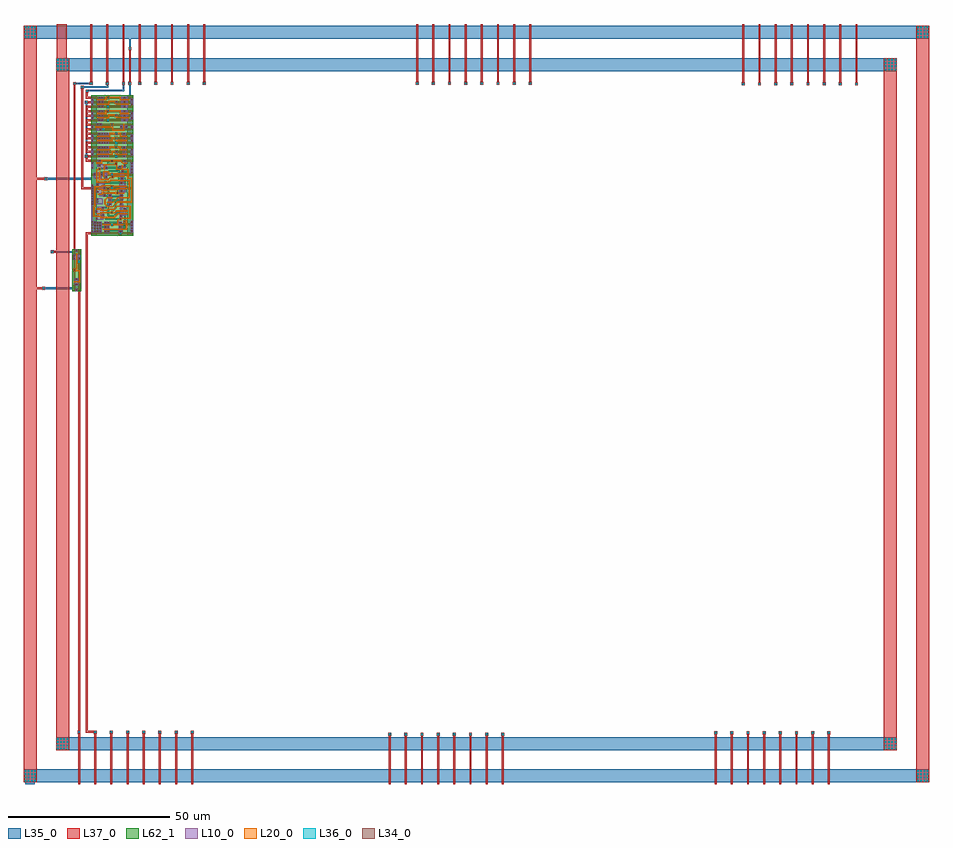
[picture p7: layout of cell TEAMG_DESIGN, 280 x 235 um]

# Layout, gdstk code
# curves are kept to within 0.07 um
from math import pi, radians
import gdstk
lib = gdstk.Library(unit=1e-6, precision=1e-09)
def R(c, l, rs):  # rectangles x0, y0, x1, y1
    for r in rs: c.add(gdstk.rectangle(r[:2], r[2:], *l))
def A(c, l, x, y, w, h, nx, ny, dx, dy):  # array of equal rectangles
    R(c, l, [(x+i*dx, y+j*dy, x+i*dx+w, y+j*dy+h) for i in range(nx) for j in range(ny)])
def P(c, l, *ps):  # polygons
    for p in ps: c.add(gdstk.Polygon(p, *l))
L10_0 = (10, 0)
L20_0 = (20, 0)
L34_0 = (34, 0)
L35_0 = (35, 0)
L36_0 = (36, 0)
L37_0 = (37, 0)
L62_1 = (62, 1)

via1 = lib.new_cell('VIA1')
R(via1, L35_0, [(-0.45,-0.45,0.45,0.45)])
R(via1, L36_0, [(-0.25,-0.25,0.25,0.25)])
R(via1, L37_0, [(-0.4,-0.4,0.4,0.4)])

inv1_h = lib.new_cell('INV1_H')
R(inv1_h, L10_0, [(1.05,0,1.75,0.75), (0.85,1.8,1.85,4), (0.3,9.7,2.5,11.3), (1.05,12.25,1.75,13)])
P(inv1_h, L20_0, [(2.525,6.45),(1.575,6.45),(1.575,11.7),(1.225,11.7),(1.225,6.9),(0.3,6.9),(0.3,6.1),(2.175,6.1),(2.175,3.075),(0.425,3.075),(0.425,2.725),(2.525,2.725)])
R(inv1_h, L34_0, [(1.2,0.2,1.6,0.6), (1.15,1.95,1.55,2.35), (1.15,3.45,1.55,3.85), (0.5,6.3,0.9,6.7), (0.45,9.85,0.85,10.25), (1.95,9.85,2.35,10.25), (0.45,10.65,0.85,11.05), (1.2,12.4,1.6,12.8)])
R(inv1_h, L35_0, [(0,0,2.8,1.8), (0.25,6.05,1.15,6.95), (0.25,6.05,1.15,6.95), (1.65,8.65,2.55,9.55), (0,11.2,2.8,13)])
P(inv1_h, L35_0, [(2.8,1.8),(1.75,1.8),(1.75,2.5),(1,2.5),(1,1.8),(0,1.8),(0,0),(2.8,0)],
  [(2.55,9.55),(2.5,9.55),(2.5,10.4),(1.8,10.4),(1.8,9.55),(1.65,9.55),(1.65,8.65),(1.8,8.65),(1.8,4),(1,4),(1,3.3),(2.5,3.3),(2.5,8.65),(2.55,8.65)],
  [(2.8,13),(0,13),(0,11.2),(0.3,11.2),(0.3,9.7),(1,9.7),(1,11.2),(2.8,11.2)])
R(inv1_h, L36_0, [(0.45,6.25,0.95,6.75), (1.85,8.85,2.35,9.35)])
R(inv1_h, L37_0, [(0.4,0,1,13), (1.8,0,2.4,13), (0.3,6.1,1.1,6.9), (1.7,8.7,2.5,9.5)])
R(inv1_h, L62_1, [(0,0,2.8,13)])
inv1_h.add(gdstk.Label('INV1', (1.4,9.5), layer=61, texttype=2))
inv1_h.add(gdstk.Label('A', (0.7,13), layer=37, texttype=0))
inv1_h.add(gdstk.Label('Q', (2.1,13), layer=37, texttype=0))
inv1_h.add(gdstk.Label('A', (0.7,0), layer=37, texttype=0))
inv1_h.add(gdstk.Label('Q', (2.1,0), layer=37, texttype=0))
inv1_h.add(gdstk.Label('VDD', (0,12.1), layer=35, texttype=0))
inv1_h.add(gdstk.Label('GND', (0,0.9), layer=35, texttype=0))
inv1_h.add(gdstk.Label('VDD', (2.8,12.1), layer=35, texttype=0))
inv1_h.add(gdstk.Label('GND', (2.8,0.9), layer=35, texttype=0))

d2_design_io = lib.new_cell('D2_DESIGN_IO')
A(d2_design_io, L35_0, 25.05, -201.85, 0.9, 0.9, 4, 4, 1, 1)
A(d2_design_io, L35_0, 301.05, -201.85, 0.9, 0.9, 4, 4, 1, 1)
A(d2_design_io, L35_0, 35.05, -191.9, 0.9, 0.9, 4, 4, 1, 1)
A(d2_design_io, L35_0, 291.05, -191.9, 0.9, 0.9, 4, 4, 1, 1)
A(d2_design_io, L35_0, 137.7, -187.45, 0.9, 0.9, 8, 1, 5, 0)
A(d2_design_io, L35_0, 238.5, -187, 0.9, 0.9, 8, 1, 5, 0)
A(d2_design_io, L35_0, 41.65, -186.8, 0.9, 0.9, 8, 1, 5, 0)
A(d2_design_io, L35_0, 247.05, 13.65, 0.9, 0.9, 8, 1, 5, 0)
A(d2_design_io, L35_0, 45.4, 13.8, 0.9, 0.9, 8, 1, 5, 0)
A(d2_design_io, L35_0, 146.2, 13.8, 0.9, 0.9, 8, 1, 5, 0)
A(d2_design_io, L35_0, 291.05, 18.1, 0.9, 0.9, 4, 4, 1, 1)
A(d2_design_io, L35_0, 25.05, 28.15, 0.9, 0.9, 4, 4, 1, 1)
A(d2_design_io, L35_0, 301.05, 28.15, 0.9, 0.9, 4, 4, 1, 1)
R(d2_design_io, L35_0, [(25.45,-202.4,28.45,-199.65), (25.05,-201.85,28.95,-197.95), (301.05,-201.85,304.95,-197.95), (35.05,-191.9,38.95,-188), (291.05,-191.9,294.95,-188), (35.05,18.1,38.95,22), (291.05,18.1,294.95,22), (25.05,28.15,28.95,32.05), (301.05,28.15,304.95,32.05)])
A(d2_design_io, L36_0, 25.25, -201.65, 0.5, 0.5, 4, 4, 1, 1)
A(d2_design_io, L36_0, 301.25, -201.65, 0.5, 0.5, 4, 4, 1, 1)
A(d2_design_io, L36_0, 35.25, -191.7, 0.5, 0.5, 4, 4, 1, 1)
A(d2_design_io, L36_0, 291.25, -191.7, 0.5, 0.5, 4, 4, 1, 1)
A(d2_design_io, L36_0, 137.9, -187.25, 0.5, 0.5, 8, 1, 5, 0)
A(d2_design_io, L36_0, 238.7, -186.8, 0.5, 0.5, 8, 1, 5, 0)
A(d2_design_io, L36_0, 41.85, -186.6, 0.5, 0.5, 8, 1, 5, 0)
A(d2_design_io, L36_0, 247.25, 13.85, 0.5, 0.5, 8, 1, 5, 0)
A(d2_design_io, L36_0, 45.6, 14, 0.5, 0.5, 8, 1, 5, 0)
A(d2_design_io, L36_0, 146.4, 14, 0.5, 0.5, 8, 1, 5, 0)
A(d2_design_io, L36_0, 35.25, 18.3, 0.5, 0.5, 4, 4, 1, 1)
A(d2_design_io, L36_0, 291.25, 18.3, 0.5, 0.5, 4, 4, 1, 1)
A(d2_design_io, L36_0, 25.25, 28.35, 0.5, 0.5, 4, 4, 1, 1)
A(d2_design_io, L36_0, 301.25, 28.35, 0.5, 0.5, 4, 4, 1, 1)
A(d2_design_io, L37_0, 25.1, -201.8, 0.8, 0.8, 4, 4, 1, 1)
A(d2_design_io, L37_0, 301.1, -201.8, 0.8, 0.8, 4, 4, 1, 1)
A(d2_design_io, L37_0, 35.1, -191.85, 0.8, 0.8, 4, 4, 1, 1)
A(d2_design_io, L37_0, 291.1, -191.85, 0.8, 0.8, 4, 4, 1, 1)
A(d2_design_io, L37_0, 291.1, 18.15, 0.8, 0.8, 4, 4, 1, 1)
A(d2_design_io, L37_0, 25.1, 28.2, 0.8, 0.8, 4, 4, 1, 1)
A(d2_design_io, L37_0, 301.1, 28.2, 0.8, 0.8, 4, 4, 1, 1)
R(d2_design_io, L37_0, [(25.1,-201.8,28.9,-198), (301.1,-201.8,304.9,-198), (35.1,-191.85,38.9,-188.05), (291.1,-191.85,294.9,-188.05), (291.1,18.15,294.9,21.95), (25.1,28.2,28.9,32), (301.1,28.2,304.9,32)])
P(d2_design_io, L37_0, [(282.1,13.7),(282.9,13.7),(282.9,14.5),(282.8,14.5),(282.8,32.6),(282.2,32.6),(282.2,14.5),(282.1,14.5)],
  [(277.1,13.7),(277.9,13.7),(277.9,14.5),(277.8,14.5),(277.8,32.6),(277.2,32.6),(277.2,14.5),(277.1,14.5)],
  [(272.1,13.7),(272.9,13.7),(272.9,14.5),(272.8,14.5),(272.8,32.6),(272.2,32.6),(272.2,14.5),(272.1,14.5)],
  [(267.1,13.7),(267.9,13.7),(267.9,14.5),(267.8,14.5),(267.8,32.6),(267.2,32.6),(267.2,14.5),(267.1,14.5)],
  [(262.1,13.7),(262.9,13.7),(262.9,14.5),(262.8,14.5),(262.8,32.6),(262.2,32.6),(262.2,14.5),(262.1,14.5)],
  [(257.1,13.7),(257.9,13.7),(257.9,14.5),(257.8,14.5),(257.8,32.6),(257.2,32.6),(257.2,14.5),(257.1,14.5)],
  [(252.1,13.7),(252.9,13.7),(252.9,14.5),(252.8,14.5),(252.8,32.6),(252.2,32.6),(252.2,14.5),(252.1,14.5)],
  [(247.1,13.7),(247.9,13.7),(247.9,14.5),(247.8,14.5),(247.8,32.6),(247.2,32.6),(247.2,14.5),(247.1,14.5)],
  [(181.25,13.85),(182.05,13.85),(182.05,14.65),(181.95,14.65),(181.95,32.6),(181.35,32.6),(181.35,14.65),(181.25,14.65)],
  [(176.25,13.85),(177.05,13.85),(177.05,14.65),(176.95,14.65),(176.95,32.6),(176.35,32.6),(176.35,14.65),(176.25,14.65)],
  [(171.25,13.85),(172.05,13.85),(172.05,14.65),(171.95,14.65),(171.95,32.6),(171.35,32.6),(171.35,14.65),(171.25,14.65)],
  [(166.25,13.85),(167.05,13.85),(167.05,14.65),(166.95,14.65),(166.95,32.6),(166.35,32.6),(166.35,14.65),(166.25,14.65)],
  [(161.25,13.85),(162.05,13.85),(162.05,14.65),(161.95,14.65),(161.95,32.6),(161.35,32.6),(161.35,14.65),(161.25,14.65)],
  [(156.25,13.85),(157.05,13.85),(157.05,14.65),(156.95,14.65),(156.95,32.6),(156.35,32.6),(156.35,14.65),(156.25,14.65)],
  [(151.25,13.85),(152.05,13.85),(152.05,14.65),(151.95,14.65),(151.95,32.6),(151.35,32.6),(151.35,14.65),(151.25,14.65)],
  [(146.25,13.85),(147.05,13.85),(147.05,14.65),(146.95,14.65),(146.95,32.6),(146.35,32.6),(146.35,14.65),(146.25,14.65)],
  [(80.45,13.85),(81.25,13.85),(81.25,14.65),(81.15,14.65),(81.15,32.6),(80.55,32.6),(80.55,14.65),(80.45,14.65)],
  [(75.45,13.85),(76.25,13.85),(76.25,14.65),(76.15,14.65),(76.15,32.6),(75.55,32.6),(75.55,14.65),(75.45,14.65)],
  [(70.45,13.85),(71.25,13.85),(71.25,14.65),(71.15,14.65),(71.15,32.6),(70.55,32.6),(70.55,14.65),(70.45,14.65)],
  [(65.45,13.85),(66.25,13.85),(66.25,14.65),(66.15,14.65),(66.15,32.6),(65.55,32.6),(65.55,14.65),(65.45,14.65)],
  [(60.45,13.85),(61.25,13.85),(61.25,14.65),(61.15,14.65),(61.15,32.6),(60.55,32.6),(60.55,14.65),(60.45,14.65)],
  [(55.45,13.85),(56.25,13.85),(56.25,14.65),(56.15,14.65),(56.15,32.6),(55.55,32.6),(55.55,14.65),(55.45,14.65)],
  [(50.45,13.85),(51.25,13.85),(51.25,14.65),(51.15,14.65),(51.15,32.6),(50.55,32.6),(50.55,14.65),(50.45,14.65)],
  [(45.45,13.85),(46.25,13.85),(46.25,14.65),(46.15,14.65),(46.15,32.6),(45.55,32.6),(45.55,14.65),(45.45,14.65)],
  [(35.1,18.15),(38.9,18.15),(38.9,21.95),(38.25,21.95),(38.25,32.6),(35.25,32.6),(35.25,21.95),(35.1,21.95)],
  [(273.55,-186.95),(273.65,-186.95),(273.65,-202.4),(274.25,-202.4),(274.25,-186.95),(274.35,-186.95),(274.35,-186.15),(273.55,-186.15)],
  [(268.55,-186.95),(268.65,-186.95),(268.65,-202.4),(269.25,-202.4),(269.25,-186.95),(269.35,-186.95),(269.35,-186.15),(268.55,-186.15)],
  [(263.55,-186.95),(263.65,-186.95),(263.65,-202.4),(264.25,-202.4),(264.25,-186.95),(264.35,-186.95),(264.35,-186.15),(263.55,-186.15)],
  [(258.55,-186.95),(258.65,-186.95),(258.65,-202.4),(259.25,-202.4),(259.25,-186.95),(259.35,-186.95),(259.35,-186.15),(258.55,-186.15)],
  [(253.55,-186.95),(253.65,-186.95),(253.65,-202.4),(254.25,-202.4),(254.25,-186.95),(254.35,-186.95),(254.35,-186.15),(253.55,-186.15)],
  [(248.55,-186.95),(248.65,-186.95),(248.65,-202.4),(249.25,-202.4),(249.25,-186.95),(249.35,-186.95),(249.35,-186.15),(248.55,-186.15)],
  [(243.55,-186.95),(243.65,-186.95),(243.65,-202.4),(244.25,-202.4),(244.25,-186.95),(244.35,-186.95),(244.35,-186.15),(243.55,-186.15)],
  [(238.55,-186.95),(238.65,-186.95),(238.65,-202.4),(239.25,-202.4),(239.25,-186.95),(239.35,-186.95),(239.35,-186.15),(238.55,-186.15)],
  [(172.75,-187.4),(172.85,-187.4),(172.85,-202.4),(173.45,-202.4),(173.45,-187.4),(173.55,-187.4),(173.55,-186.6),(172.75,-186.6)],
  [(167.75,-187.4),(167.85,-187.4),(167.85,-202.4),(168.45,-202.4),(168.45,-187.4),(168.55,-187.4),(168.55,-186.6),(167.75,-186.6)],
  [(162.75,-187.4),(162.85,-187.4),(162.85,-202.4),(163.45,-202.4),(163.45,-187.4),(163.55,-187.4),(163.55,-186.6),(162.75,-186.6)],
  [(157.75,-187.4),(157.85,-187.4),(157.85,-202.4),(158.45,-202.4),(158.45,-187.4),(158.55,-187.4),(158.55,-186.6),(157.75,-186.6)],
  [(152.75,-187.4),(152.85,-187.4),(152.85,-202.4),(153.45,-202.4),(153.45,-187.4),(153.55,-187.4),(153.55,-186.6),(152.75,-186.6)],
  [(147.75,-187.4),(147.85,-187.4),(147.85,-202.4),(148.45,-202.4),(148.45,-187.4),(148.55,-187.4),(148.55,-186.6),(147.75,-186.6)],
  [(142.75,-187.4),(142.85,-187.4),(142.85,-202.4),(143.45,-202.4),(143.45,-187.4),(143.55,-187.4),(143.55,-186.6),(142.75,-186.6)],
  [(137.75,-187.4),(137.85,-187.4),(137.85,-202.4),(138.45,-202.4),(138.45,-187.4),(138.55,-187.4),(138.55,-186.6),(137.75,-186.6)],
  [(76.7,-186.75),(76.8,-186.75),(76.8,-202.4),(77.4,-202.4),(77.4,-186.75),(77.5,-186.75),(77.5,-185.95),(76.7,-185.95)],
  [(71.7,-186.75),(71.8,-186.75),(71.8,-202.4),(72.4,-202.4),(72.4,-186.75),(72.5,-186.75),(72.5,-185.95),(71.7,-185.95)],
  [(66.7,-186.75),(66.8,-186.75),(66.8,-202.4),(67.4,-202.4),(67.4,-186.75),(67.5,-186.75),(67.5,-185.95),(66.7,-185.95)],
  [(61.7,-186.75),(61.8,-186.75),(61.8,-202.4),(62.4,-202.4),(62.4,-186.75),(62.5,-186.75),(62.5,-185.95),(61.7,-185.95)],
  [(56.7,-186.75),(56.8,-186.75),(56.8,-202.4),(57.4,-202.4),(57.4,-186.75),(57.5,-186.75),(57.5,-185.95),(56.7,-185.95)],
  [(51.7,-186.75),(51.8,-186.75),(51.8,-202.4),(52.4,-202.4),(52.4,-186.75),(52.5,-186.75),(52.5,-185.95),(51.7,-185.95)],
  [(46.7,-186.75),(46.8,-186.75),(46.8,-202.4),(47.4,-202.4),(47.4,-186.75),(47.5,-186.75),(47.5,-185.95),(46.7,-185.95)],
  [(41.7,-186.75),(41.8,-186.75),(41.8,-202.4),(42.4,-202.4),(42.4,-186.75),(42.5,-186.75),(42.5,-185.95),(41.7,-185.95)])
d2_design_io.add(gdstk.FlexPath([(25,30.1),(305,30.1)], 4, ends="flush", simple_path=True, layer=35, datatype=0))  # L35_0
d2_design_io.add(gdstk.FlexPath([(35,20.05),(295,20.05)], 4, ends="flush", simple_path=True, layer=35, datatype=0))  # L35_0
d2_design_io.add(gdstk.FlexPath([(25,-199.9),(305,-199.9)], 4, ends="flush", simple_path=True, layer=35, datatype=0))  # L35_0
d2_design_io.add(gdstk.FlexPath([(35,-189.95),(295,-189.95)], 4, ends="flush", simple_path=True, layer=35, datatype=0))  # L35_0
d2_design_io.add(gdstk.FlexPath([(27,32.1),(27,-201.9)], 4, ends="flush", simple_path=True, layer=37, datatype=0))  # L37_0
d2_design_io.add(gdstk.FlexPath([(37,22.05),(37,-191.95)], 4, ends="flush", simple_path=True, layer=37, datatype=0))  # L37_0
d2_design_io.add(gdstk.FlexPath([(293,22.05),(293,-191.95)], 4, ends="flush", simple_path=True, layer=37, datatype=0))  # L37_0
d2_design_io.add(gdstk.FlexPath([(303,32.1),(303,-201.9)], 4, ends="flush", simple_path=True, layer=37, datatype=0))  # L37_0
d2_design_io.add(gdstk.Label('vdd', (36.75,32.6), layer=37, texttype=0))
d2_design_io.add(gdstk.Label('A23', (282.5,32.6), layer=37, texttype=0))
d2_design_io.add(gdstk.Label('A22', (277.5,32.6), layer=37, texttype=0))
d2_design_io.add(gdstk.Label('A21', (272.5,32.6), layer=37, texttype=0))
d2_design_io.add(gdstk.Label('A20', (267.5,32.6), layer=37, texttype=0))
d2_design_io.add(gdstk.Label('A19', (262.5,32.6), layer=37, texttype=0))
d2_design_io.add(gdstk.Label('A18', (257.5,32.6), layer=37, texttype=0))
d2_design_io.add(gdstk.Label('A17', (252.5,32.6), layer=37, texttype=0))
d2_design_io.add(gdstk.Label('A16', (247.5,32.6), layer=37, texttype=0))
d2_design_io.add(gdstk.Label('A15', (181.65,32.6), layer=37, texttype=0))
d2_design_io.add(gdstk.Label('A14', (176.65,32.6), layer=37, texttype=0))
d2_design_io.add(gdstk.Label('A13', (171.65,32.6), layer=37, texttype=0))
d2_design_io.add(gdstk.Label('A12', (166.65,32.6), layer=37, texttype=0))
d2_design_io.add(gdstk.Label('A11', (161.65,32.6), layer=37, texttype=0))
d2_design_io.add(gdstk.Label('A10', (156.65,32.6), layer=37, texttype=0))
d2_design_io.add(gdstk.Label('A9', (151.65,32.6), layer=37, texttype=0))
d2_design_io.add(gdstk.Label('A8', (146.65,32.6), layer=37, texttype=0))
d2_design_io.add(gdstk.Label('A7', (80.85,32.6), layer=37, texttype=0))
d2_design_io.add(gdstk.Label('A6', (75.85,32.6), layer=37, texttype=0))
d2_design_io.add(gdstk.Label('A5', (70.85,32.6), layer=37, texttype=0))
d2_design_io.add(gdstk.Label('A4', (65.85,32.6), layer=37, texttype=0))
d2_design_io.add(gdstk.Label('A3', (60.85,32.6), layer=37, texttype=0))
d2_design_io.add(gdstk.Label('A2', (55.85,32.6), layer=37, texttype=0))
d2_design_io.add(gdstk.Label('A1', (50.85,32.6), layer=37, texttype=0))
d2_design_io.add(gdstk.Label('A0', (45.85,32.6), layer=37, texttype=0))
d2_design_io.add(gdstk.Label('Q23', (273.95,-202.4), layer=37, texttype=0))
d2_design_io.add(gdstk.Label('Q22', (268.95,-202.4), layer=37, texttype=0))
d2_design_io.add(gdstk.Label('Q21', (263.95,-202.4), layer=37, texttype=0))
d2_design_io.add(gdstk.Label('Q20', (258.95,-202.4), layer=37, texttype=0))
d2_design_io.add(gdstk.Label('Q19', (253.95,-202.4), layer=37, texttype=0))
d2_design_io.add(gdstk.Label('Q18', (248.95,-202.4), layer=37, texttype=0))
d2_design_io.add(gdstk.Label('Q17', (243.95,-202.4), layer=37, texttype=0))
d2_design_io.add(gdstk.Label('Q16', (238.95,-202.4), layer=37, texttype=0))
d2_design_io.add(gdstk.Label('Q15', (173.15,-202.4), layer=37, texttype=0))
d2_design_io.add(gdstk.Label('Q14', (168.15,-202.4), layer=37, texttype=0))
d2_design_io.add(gdstk.Label('Q13', (163.15,-202.4), layer=37, texttype=0))
d2_design_io.add(gdstk.Label('Q12', (158.15,-202.4), layer=37, texttype=0))
d2_design_io.add(gdstk.Label('Q11', (153.15,-202.4), layer=37, texttype=0))
d2_design_io.add(gdstk.Label('Q10', (148.15,-202.4), layer=37, texttype=0))
d2_design_io.add(gdstk.Label('Q9', (143.15,-202.4), layer=37, texttype=0))
d2_design_io.add(gdstk.Label('Q8', (138.15,-202.4), layer=37, texttype=0))
d2_design_io.add(gdstk.Label('Q7', (77.1,-202.4), layer=37, texttype=0))
d2_design_io.add(gdstk.Label('Q6', (72.1,-202.4), layer=37, texttype=0))
d2_design_io.add(gdstk.Label('Q5', (67.1,-202.4), layer=37, texttype=0))
d2_design_io.add(gdstk.Label('Q4', (62.1,-202.4), layer=37, texttype=0))
d2_design_io.add(gdstk.Label('Q3', (57.1,-202.4), layer=37, texttype=0))
d2_design_io.add(gdstk.Label('Q2', (52.1,-202.4), layer=37, texttype=0))
d2_design_io.add(gdstk.Label('Q1', (47.1,-202.4), layer=37, texttype=0))
d2_design_io.add(gdstk.Label('Q0', (42.1,-202.4), layer=37, texttype=0))
d2_design_io.add(gdstk.Label('gnd', (26.95,-202.4), layer=35, texttype=0))

teamex_blankdesign = lib.new_cell('TEAMex_BLANKDESIGN')
teamex_blankdesign.add(gdstk.Reference(d2_design_io, (-128.2,111.8)))

dfc1_h = lib.new_cell('DFC1_H')
R(dfc1_h, L10_0, [(1.05,0,4.55,0.75), (19.25,0,22.75,0.75), (19.45,3.375,22.85,4.375), (11.05,6.65,14.45,7.65), (19.45,7.35,22.85,8.95), (1.05,12.25,3.15,13)])
P(dfc1_h, L10_0, [(11.725,9.2),(11.65,9.2),(11.65,10.45),(10.575,10.45),(10.575,11.35),(9.875,11.35),(9.875,10.45),(8.3,10.45),(8.3,11.35),(7.6,11.35),(7.6,8.85),(8.725,8.85),(8.725,8.55),(9.425,8.55),(9.425,8.85),(11.025,8.85),(11.025,8.5),(11.725,8.5)],
  [(22.75,13),(8.05,13),(8.05,12.25),(14.35,12.25),(14.35,12.55),(19.25,12.55),(19.25,12.25),(19.5,12.25),(19.5,9.75),(22.75,9.75)],
  [(2.875,4.4),(2.175,4.4),(2.175,3.7),(2.475,3.7),(2.475,2.95),(1.75,2.95),(1.75,2.75),(1,2.75),(1,2.95),(0.3,2.95),(0.3,2.25),(2.875,2.25)],
  [(18.95,11.55),(18.225,11.55),(18.225,10.85),(16.65,10.85),(16.65,11.7),(15.95,11.7),(15.95,10.85),(14.875,10.85),(14.875,9.6),(14.825,9.6),(14.825,8.9),(15.525,8.9),(15.525,9.25),(17.1,9.25),(17.1,8.9),(17.8,8.9),(17.8,9.25),(18.95,9.25)],
  [(18.05,4.05),(10.3,4.05),(10.3,4.25),(7.75,4.25),(7.75,3.9),(3.975,3.9),(3.975,3.6),(3.625,3.6),(3.625,2.9),(7.75,2.9),(7.75,2.25),(10.3,2.25),(10.3,3.05),(15.1,3.05),(15.1,2.05),(17.7,2.05),(17.7,3.35),(18.05,3.35)],
  [(14.075,11.4),(12.25,11.4),(12.25,9.8),(12.35,9.8),(12.35,9.3),(14.075,9.3)],
  [(6.05,8.65),(5.4,8.65),(5.4,9.7),(6,9.7),(6,12.2),(4.4,12.2),(4.4,7.95),(6.05,7.95)],
  [(3.25,8.525),(3,8.525),(3,9.8),(2.55,9.8),(2.55,11.05),(0.65,11.05),(0.65,10.75),(0.3,10.75),(0.3,10.05),(1.7,10.05),(1.7,9.275),(2.2,9.275),(2.2,8.225),(2.55,8.225),(2.55,7.825),(3.25,7.825)])
P(dfc1_h, L20_0, [(22,9.35),(21.65,9.35),(21.65,2.2),(19.85,2.2),(19.85,3),(19.05,3),(19.05,1.85),(22,1.85)],
  [(20.65,9.35),(20.3,9.35),(20.3,4.925),(18.7,4.925),(18.7,4.25),(18.25,4.25),(18.25,1.1),(14.9,1.1),(14.9,4.902),(15.8,5.802),(15.8,7.727),(16.075,8.002),(16.075,10.15),(15.725,10.15),(15.725,11.3),(15.375,11.3),(15.375,9.8),(15.725,9.8),(15.725,8.148),(15.45,7.873),(15.45,5.948),(14.55,5.048),(14.55,0.75),(18.6,0.75),(18.6,3.45),(19.05,3.45),(19.05,4.575),(20.3,4.575),(20.3,2.975),(20.65,2.975)],
  [(18.375,10.15),(18.025,10.15),(18.025,12.25),(14.65,12.25),(14.65,11.95),(8.5,11.95),(8.5,9.75),(8.15,9.75),(8.15,6.1),(8.35,6.1),(8.35,1.85),(8.7,1.85),(8.7,6.1),(8.95,6.1),(8.95,6.9),(8.5,6.9),(8.5,9.4),(8.85,9.4),(8.85,11.6),(15,11.6),(15,11.9),(17.675,11.9),(17.675,9.8),(18.025,9.8),(18.025,5.948),(16.8,4.723),(16.8,1.65),(17.15,1.65),(17.15,4.577),(18.375,5.802)],
  [(17.225,11.3),(16.875,11.3),(16.875,10.15),(16.525,10.15),(16.525,6.925),(16.25,6.925),(16.25,6.125),(16.525,6.125),(16.525,5.673),(16,5.148),(16,1.65),(16.35,1.65),(16.35,5.002),(16.875,5.527),(16.875,6.125),(17.05,6.125),(17.05,6.925),(16.875,6.925),(16.875,9.8),(17.225,9.8)],
  [(15,7.923),(14.073,8.85),(12.702,8.85),(11.9,8.05),(11.9,6.25),(12.25,6.25),(12.25,7.902),(12.848,8.5),(13.927,8.5),(14.65,7.777),(14.65,6.348),(13.2,4.898),(13.2,0.6),(6.175,0.6),(6.175,1.75),(4.825,1.75),(4.825,7.75),(4.2,7.75),(4.2,8.85),(5.8,8.85),(5.8,9.2),(3.85,9.2),(3.85,7.4),(4.475,7.4),(4.475,1.75),(3.425,1.75),(3.425,5.2),(2,5.2),(2,8.725),(3.4,8.725),(3.4,9.075),(1.65,9.075),(1.65,5.65),(1.2,5.65),(1.2,4.85),(3.075,4.85),(3.075,3.5),(2.075,3.5),(2.075,3.15),(3.075,3.15),(3.075,1.4),(5.825,1.4),(5.825,0.25),(13.55,0.25),(13.55,4.752),(15,6.202)],
  [(13.6,8.05),(13.25,8.05),(13.25,6.198),(11.85,4.798),(11.85,1.4),(6.975,1.4),(6.975,4.473),(6.875,4.573),(6.875,6.777),(7.4,7.302),(7.4,11.35),(3.2,11.35),(3.2,10.8),(2.75,10.8),(2.75,10),(3.55,10),(3.55,11),(7.05,11),(7.05,7.448),(6.525,6.923),(6.525,4.427),(6.625,4.327),(6.625,1.05),(12.2,1.05),(12.2,4.652),(13.6,6.052)],
  [(11.15,10.85),(10.8,10.85),(10.8,9.7),(10.45,9.7),(10.45,5.3),(10.25,5.3),(10.25,4.5),(10.5,4.5),(10.5,2.65),(10.85,2.65),(10.85,4.5),(11.05,4.5),(11.05,5.3),(10.8,5.3),(10.8,9.35),(11.15,9.35)],
  [(10,9.75),(9.65,9.75),(9.65,10.85),(9.3,10.85),(9.3,9.4),(9.65,9.4),(9.65,8.15),(8.95,8.15),(8.95,7.35),(9.45,7.35),(9.45,5.1),(9.15,5.1),(9.15,1.85),(9.5,1.85),(9.5,4.75),(9.8,4.75),(9.8,7.35),(10,7.35)],
  [(6.6,10.55),(4,10.55),(4,10.2),(6.25,10.2),(6.25,7.798),(5.725,7.273),(5.725,6.8),(5.275,6.8),(5.275,2.5),(5.625,2.5),(5.625,6),(6.075,6),(6.075,7.127),(6.6,7.652)],
  [(1.55,3.198),(0.75,3.998),(0.75,6.1),(1.1,6.1),(1.1,6.9),(0.65,6.9),(0.65,9.5),(1.5,9.5),(1.5,11.45),(1.15,11.45),(1.15,9.85),(0.3,9.85),(0.3,6.1),(0.4,6.1),(0.4,3.852),(1.2,3.052),(1.2,1.85),(1.55,1.85)])
A(dfc1_h, L34_0, 1.2, 0.2, 0.4, 0.4, 3, 1, 0.95, 0)
A(dfc1_h, L34_0, 19.4, 0.2, 0.4, 0.4, 3, 1, 0.95, 0)
A(dfc1_h, L34_0, 9.8, 3.35, 0.4, 0.4, 3, 1, 1.35, 0)
A(dfc1_h, L34_0, 11.2, 6.95, 0.4, 0.4, 3, 1, 1.35, 0)
A(dfc1_h, L34_0, 19.6, 7.55, 0.4, 0.4, 3, 2, 1.35, 0.8)
A(dfc1_h, L34_0, 19.7, 10, 0.4, 0.4, 1, 3, 0, 0.8)
A(dfc1_h, L34_0, 20.5, 10, 0.4, 0.4, 3, 3, 0.85, 0.8)
A(dfc1_h, L34_0, 8.2, 12.4, 0.4, 0.4, 8, 1, 0.8, 0)
A(dfc1_h, L34_0, 20.3, 12.4, 0.4, 0.4, 3, 1, 0.95, 0)
R(dfc1_h, L34_0, [(4,0.2,4.4,0.6), (22.2,0.2,22.6,0.6), (0.45,2.4,0.85,2.8), (1.9,2.4,2.3,2.8), (15.25,2.4,15.65,2.8), (19.25,2.4,19.65,2.8), (3.75,3.05,4.15,3.45), (5.9,3.2,6.3,3.6), (7.3,3.35,7.7,3.75), (13.85,3.45,14.25,3.85), (17.5,3.5,17.9,3.9), (18.45,3.65,18.85,4.05), (20.95,3.65,21.35,4.05), (19.6,3.7,20,4.1), (22.3,3.7,22.7,4.1), (2.35,3.85,2.75,4.25), (10.4,4.7,10.8,5.1), (1.4,5.05,1.8,5.45), (5.45,6.2,5.85,6.6), (0.5,6.3,0.9,6.7), (8.35,6.3,8.75,6.7), (16.45,6.35,16.85,6.75), (9.15,7.55,9.55,7.95), (2.7,8,3.1,8.4), (5.5,8.1,5.9,8.5), (11.2,8.65,11.6,9.05), (8.9,8.7,9.3,9.1), (15,9.05,15.4,9.45), (17.25,9.05,17.65,9.45), (4.7,9.5,5.1,9.9), (0.45,10.2,0.85,10.6), (1.8,10.2,2.2,10.6), (2.95,10.2,3.35,10.6), (7.75,10.8,8.15,11.2), (10,10.8,10.4,11.2), (12.4,10.85,12.8,11.25), (13.2,10.85,13.6,11.25), (18.4,11,18.8,11.4), (16.1,11.15,16.5,11.55), (4.65,11.65,5.05,12.05), (1.2,12.4,1.6,12.8), (2.6,12.4,3,12.8), (19.4,12.4,19.8,12.8)])
A(dfc1_h, L35_0, 0.25, 6.05, 0.9, 0.9, 3, 1, 4.2, 0)
R(dfc1_h, L35_0, [(22.65,3.45,23.55,4.35), (0.25,6.05,1.15,6.95), (19.85,6.05,20.75,6.95)])
P(dfc1_h, L35_0, [(19.8,2.95),(19.1,2.95),(19.1,2.75),(16.75,2.75),(16.75,4.55),(17.95,5.75),(17.95,7.45),(17.5,7.9),(15.45,7.9),(15.45,8.9),(15.55,8.9),(15.55,9.6),(14.85,9.6),(14.9,7.9),(13.75,7.9),(13.75,6.8),(14.45,6.8),(14.45,7.4),(17.25,7.4),(17.45,7.2),(17.45,6),(16.25,4.8),(16.25,3.9),(14.4,3.9),(14.4,4),(13.7,4),(13.7,3.3),(14.4,3.3),(14.4,3.4),(16.25,3.4),(16.25,2.25),(19.8,2.25)],
  [(17,6.9),(16.3,6.9),(15.1,5.7),(13.1,5.7),(13.1,7.5),(12.4,7.5),(12.4,6.8),(12.6,6.8),(12.6,4.15),(12.35,3.9),(12.35,3.2),(13.05,3.2),(13.1,5.2),(15.35,5.2),(16.35,6.2),(17,6.2)],
  [(19,4.2),(18.9,4.2),(18.9,8.4),(17.8,9.5),(17.8,9.6),(17.1,9.6),(17.1,8.9),(17.65,8.9),(18.4,8.15),(18.4,4.2),(18.3,4.2),(18.3,4.05),(17.35,4.05),(17.35,3.35),(18.3,3.35),(18.3,3.5),(19,3.5)],
  [(10.95,5.25),(10.25,5.25),(10.25,5.05),(8.65,5.05),(8.65,2.75),(6.5,2.75),(6.5,3.75),(6.3,3.75),(6.3,4.55),(4,4.55),(4,7.2),(4.6,7.8),(4.6,9.35),(5.25,9.35),(5.25,10.05),(4.1,10.05),(4.1,8.05),(3.5,7.45),(3.5,4.05),(5.75,4.05),(5.75,3.05),(5.95,3.05),(5.95,2.25),(9.2,2.25),(9.2,4.55),(10.95,4.55)],
  [(11.95,7.5),(11.75,7.5),(11.75,9.2),(11,9.2),(11,8.5),(11.25,8.5),(11.25,7.9),(9.7,7.9),(9.7,8.1),(9,8.1),(9,7.4),(11.05,7.4),(11.05,6.8),(11.45,6.8),(11.45,4.4),(11,3.95),(11,3.2),(11.7,3.2),(11.7,3.9),(11.95,4.15)],
  [(23.8,13),(0,13),(0,11.2),(1.65,11.2),(1.65,10.05),(2.35,10.05),(2.35,11.2),(7.6,11.2),(7.6,10.65),(8.3,10.65),(8.3,11.2),(9.85,11.2),(9.85,10.65),(10.6,10.65),(10.6,11.2),(12.25,11.2),(12.25,10.7),(13.75,10.7),(13.75,11.2),(15.95,11.2),(15.95,11),(16.65,11),(16.65,11.2),(18.2,11.2),(18.2,10.85),(18.95,10.85),(18.95,11.2),(19.5,11.2),(19.5,9.85),(20.9,9.85),(20.9,8.9),(20.8,8.9),(20.8,7.4),(21.5,7.4),(21.5,8.9),(21.4,8.9),(21.4,9.85),(22.75,9.85),(22.75,11.2),(23.8,11.2)],
  [(9.45,9.35),(7.15,9.35),(7.15,8.85),(5.35,8.85),(5.35,7.95),(6.05,7.95),(6.05,8.35),(7.15,8.35),(7.15,3.9),(7.1,3.9),(7.1,3.2),(7.85,3.2),(7.85,3.9),(7.7,3.9),(7.7,8.8),(8.7,8.8),(8.7,8.55),(9.45,8.55)],
  [(23.8,1.8),(21.5,1.8),(21.5,4.2),(20.8,4.2),(20.8,1.8),(15.8,1.8),(15.8,2.95),(15.1,2.95),(15.1,1.8),(10.35,1.8),(10.35,3.9),(9.65,3.9),(9.65,1.8),(4.35,1.8),(4.35,3.6),(3.6,3.6),(3.6,2.9),(3.8,2.9),(3.8,1.8),(2.45,1.8),(2.45,2.95),(1.75,2.95),(1.75,1.8),(0,1.8),(0,0),(23.8,0)],
  [(6,6.75),(5.35,6.75),(5.35,6.95),(4.45,6.95),(4.45,6.05),(6,6.05)],
  [(3.5,10.75),(2.8,10.75),(2.8,9.05),(2.55,9.05),(2.55,4.4),(2.2,4.4),(2.2,3.7),(3.05,3.7),(3.05,7.85),(3.25,7.85),(3.25,8.5),(3.3,8.5),(3.3,10.05),(3.5,10.05)],
  [(20.75,6.95),(20.15,6.95),(20.15,8.9),(19.45,8.9),(19.45,3.55),(20.15,3.55),(20.15,6.05),(20.75,6.05)],
  [(23.55,4.35),(22.85,4.35),(22.85,8.9),(22.15,8.9),(22.15,3.25),(22.85,3.25),(22.85,3.45),(23.55,3.45)],
  [(9.55,6.95),(8.65,6.95),(8.65,6.85),(8.2,6.85),(8.2,6.15),(8.65,6.15),(8.65,6.05),(9.55,6.05)],
  [(2.1,7.9),(1,7.9),(1,10.75),(0.3,10.75),(0.3,10.05),(0.5,10.05),(0.5,7.4),(1.6,7.4),(1.6,5.6),(1.25,5.6),(1.25,5.4),(0.5,5.4),(0.5,2.95),(0.3,2.95),(0.3,2.25),(1,2.25),(1,4.9),(2.1,4.9)])
A(dfc1_h, L36_0, 0.45, 6.25, 0.5, 0.5, 3, 1, 4.2, 0)
R(dfc1_h, L36_0, [(22.85,3.65,23.35,4.15), (20.05,6.25,20.55,6.75)])
A(dfc1_h, L37_0, 0.4, 0, 0.6, 13, 3, 1, 4.2, 0)
A(dfc1_h, L37_0, 0.3, 6.1, 0.8, 0.8, 3, 1, 4.2, 0)
R(dfc1_h, L37_0, [(20,0,20.6,13), (22.8,0,23.4,13), (22.7,3.5,23.5,4.3), (19.9,6.1,20.7,6.9)])
R(dfc1_h, L62_1, [(0,0,23.8,13)])
dfc1_h.add(gdstk.Label('DFC1', (11.9,9.5), layer=61, texttype=2))
dfc1_h.add(gdstk.Label('C', (0.7,13), layer=37, texttype=0))
dfc1_h.add(gdstk.Label('D', (4.9,13), layer=37, texttype=0))
dfc1_h.add(gdstk.Label('RN', (9.1,13), layer=37, texttype=0))
dfc1_h.add(gdstk.Label('Q', (20.3,13), layer=37, texttype=0))
dfc1_h.add(gdstk.Label('QN', (23.1,13), layer=37, texttype=0))
dfc1_h.add(gdstk.Label('GND', (23.8,0.9), layer=35, texttype=0))
dfc1_h.add(gdstk.Label('GND', (0,0.9), layer=35, texttype=0))
dfc1_h.add(gdstk.Label('VDD', (23.8,12.1), layer=35, texttype=0))
dfc1_h.add(gdstk.Label('VDD', (0,12.1), layer=35, texttype=0))
dfc1_h.add(gdstk.Label('C', (0.7,0), layer=37, texttype=0))
dfc1_h.add(gdstk.Label('D', (4.9,0), layer=37, texttype=0))
dfc1_h.add(gdstk.Label('RN', (9.1,0), layer=37, texttype=0))
dfc1_h.add(gdstk.Label('Q', (20.3,0), layer=37, texttype=0))
dfc1_h.add(gdstk.Label('QN', (23.1,0), layer=37, texttype=0))

nor21_h = lib.new_cell('NOR21_H')
R(nor21_h, L10_0, [(1.05,0,3.15,0.75), (0.4,2.25,3.8,3.25), (0.4,7.575,3.8,10.775), (1.05,12.25,3.15,13)])
P(nor21_h, L20_0, [(2.95,5.15),(2.625,5.15),(2.625,5.675),(2.05,5.675),(2.05,6.2),(2.95,6.2),(2.95,11.175),(2.6,11.175),(2.6,6.55),(1.7,6.55),(1.7,4.8),(2.6,4.8),(2.6,1.85),(2.95,1.85)],
  [(1.6,4.15),(0.775,4.15),(0.775,4.8),(1.1,4.8),(1.1,5.6),(0.775,5.6),(0.775,7.025),(1.6,7.025),(1.6,11.175),(1.25,11.175),(1.25,7.375),(0.425,7.375),(0.425,5.6),(0.3,5.6),(0.3,4.8),(0.425,4.8),(0.425,3.8),(1.25,3.8),(1.25,1.85),(1.6,1.85)])
A(nor21_h, L34_0, 0.55, 2.55, 0.4, 0.4, 3, 2, 1.35, 5.2)
A(nor21_h, L34_0, 0.55, 8.55, 0.4, 0.4, 3, 3, 1.35, 0.8)
R(nor21_h, L34_0, [(1.2,0.2,1.6,0.6), (2.6,0.2,3,0.6), (0.5,5,0.9,5.4), (1.9,5,2.3,5.4), (1.2,12.4,1.6,12.8), (2.6,12.4,3,12.8)])
R(nor21_h, L35_0, [(0.25,4.75,1.15,5.65), (0.25,4.75,1.15,5.65), (1.65,4.75,2.55,5.65), (1.65,4.75,2.55,5.65), (3.05,4.75,3.95,5.65), (1.75,7.6,2.45,10.75)])
P(nor21_h, L35_0, [(3.95,5.65),(3.6,5.65),(3.6,7.6),(3.8,7.6),(3.8,10.75),(3.1,10.75),(3.1,5.65),(3.05,5.65),(3.05,4.75),(3.1,4.75),(3.1,4.1),(1.85,4.1),(1.85,3.1),(1.75,3.1),(1.75,2.4),(2.45,2.4),(2.45,3.1),(2.35,3.1),(2.35,3.55),(3.6,3.55),(3.6,4.75),(3.95,4.75)],
  [(4.2,13),(0,13),(0,11.2),(0.4,11.2),(0.4,7.6),(1.1,7.6),(1.1,11.2),(4.2,11.2)],
  [(4.2,1.8),(3.8,1.8),(3.8,3.1),(3.1,3.1),(3.1,1.8),(1.1,1.8),(1.1,3.1),(0.4,3.1),(0.4,1.8),(0,1.8),(0,0),(4.2,0)])
A(nor21_h, L36_0, 0.45, 4.95, 0.5, 0.5, 3, 1, 1.4, 0)
A(nor21_h, L37_0, 0.4, 0, 0.6, 13, 3, 1, 1.4, 0)
A(nor21_h, L37_0, 0.3, 4.8, 0.8, 0.8, 3, 1, 1.4, 0)
R(nor21_h, L62_1, [(0,0,4.2,13)])
nor21_h.add(gdstk.Label('NOR21', (2.1,9.5), layer=61, texttype=2))
nor21_h.add(gdstk.Label('A', (0.7,13), layer=37, texttype=0))
nor21_h.add(gdstk.Label('B', (2.1,13), layer=37, texttype=0))
nor21_h.add(gdstk.Label('Q', (3.5,13), layer=37, texttype=0))
nor21_h.add(gdstk.Label('GND', (4.2,0.9), layer=35, texttype=0))
nor21_h.add(gdstk.Label('GND', (0,0.9), layer=35, texttype=0))
nor21_h.add(gdstk.Label('VDD', (4.2,12.1), layer=35, texttype=0))
nor21_h.add(gdstk.Label('VDD', (0,12.1), layer=35, texttype=0))
nor21_h.add(gdstk.Label('A', (0.7,0), layer=37, texttype=0))
nor21_h.add(gdstk.Label('B', (2.1,0), layer=37, texttype=0))
nor21_h.add(gdstk.Label('Q', (3.5,0), layer=37, texttype=0))

nand21_h = lib.new_cell('NAND21_H')
R(nand21_h, L10_0, [(1.05,0,3.15,0.75), (0.4,1.6,3.8,3.6), (0.4,9.2,3.8,10.8), (1.05,12.25,3.15,13)])
P(nand21_h, L20_0, [(2.95,5.15),(2.625,5.15),(2.625,5.675),(2.05,5.675),(2.05,7.35),(2.95,7.35),(2.95,11.2),(2.6,11.2),(2.6,7.7),(1.7,7.7),(1.7,4.8),(2.6,4.8),(2.6,1.2),(2.95,1.2)],
  [(1.6,4.15),(0.775,4.15),(0.775,7.4),(1.1,7.4),(1.1,8.2),(1.6,8.2),(1.6,11.2),(1.25,11.2),(1.25,8.55),(0.425,8.55),(0.425,8.2),(0.3,8.2),(0.3,7.4),(0.425,7.4),(0.425,3.8),(1.25,3.8),(1.25,1.2),(1.6,1.2)])
A(nand21_h, L34_0, 0.55, 2.4, 0.4, 0.4, 3, 2, 1.35, 7)
A(nand21_h, L34_0, 0.55, 10.2, 0.4, 0.4, 3, 1, 1.35, 0)
R(nand21_h, L34_0, [(1.2,0.2,1.6,0.6), (2.6,0.2,3,0.6), (1.9,5,2.3,5.4), (0.5,7.6,0.9,8), (1.2,12.4,1.6,12.8), (2.6,12.4,3,12.8)])
R(nand21_h, L35_0, [(1.75,2.25,2.45,2.95), (1.65,4.75,2.55,5.65), (1.65,4.75,2.55,5.65), (0.25,7.35,1.15,8.25), (0.25,7.35,1.15,8.25), (3.05,7.35,3.95,8.25)])
P(nand21_h, L35_0, [(4.2,1.8),(1.1,1.8),(1.1,3),(0.4,3),(0.4,1.8),(0,1.8),(0,0),(4.2,0)],
  [(4.2,13),(0,13),(0,11.2),(0.4,11.2),(0.4,9.25),(1.1,9.25),(1.1,11.2),(3.1,11.2),(3.1,9.25),(3.8,9.25),(3.8,11.2),(4.2,11.2)],
  [(3.95,8.25),(2.45,8.25),(2.45,10.75),(1.75,10.75),(1.75,9.25),(1.95,9.25),(1.95,7.75),(3.05,7.75),(3.05,7.35),(3.1,7.35),(3.1,2.25),(3.8,2.25),(3.8,2.95),(3.6,2.95),(3.6,7.35),(3.95,7.35)])
R(nand21_h, L36_0, [(1.85,4.95,2.35,5.45), (0.45,7.55,0.95,8.05), (3.25,7.55,3.75,8.05)])
A(nand21_h, L37_0, 0.4, 0, 0.6, 13, 3, 1, 1.4, 0)
R(nand21_h, L37_0, [(1.7,4.8,2.5,5.6), (0.3,7.4,1.1,8.2), (3.1,7.4,3.9,8.2)])
R(nand21_h, L62_1, [(0,0,4.2,13)])
nand21_h.add(gdstk.Label('NAND21', (2.1,9.5), layer=61, texttype=2))
nand21_h.add(gdstk.Label('B', (0.7,13), layer=37, texttype=0))
nand21_h.add(gdstk.Label('Q', (3.5,13), layer=37, texttype=0))
nand21_h.add(gdstk.Label('A', (2.1,13), layer=37, texttype=0))
nand21_h.add(gdstk.Label('GND', (4.2,0.9), layer=35, texttype=0))
nand21_h.add(gdstk.Label('GND', (0,0.9), layer=35, texttype=0))
nand21_h.add(gdstk.Label('VDD', (4.2,12.1), layer=35, texttype=0))
nand21_h.add(gdstk.Label('VDD', (0,12.1), layer=35, texttype=0))
nand21_h.add(gdstk.Label('B', (0.7,0), layer=37, texttype=0))
nand21_h.add(gdstk.Label('Q', (3.5,0), layer=37, texttype=0))
nand21_h.add(gdstk.Label('A', (2.1,0), layer=37, texttype=0))

teamg_ringoscillator = lib.new_cell('TEAMG_RINGOSCILLATOR')
teamg_ringoscillator.add(gdstk.FlexPath([(1.55,22.45),(17.45,22.45)], 0.5, ends="flush", simple_path=True, layer=35, datatype=0))  # L35_0
teamg_ringoscillator.add(gdstk.FlexPath([(-1,22.3),(-0.3,22.3),(-0.3,21)], 0.6, ends="flush", simple_path=True, layer=37, datatype=0))  # L37_0
teamg_ringoscillator.add(gdstk.FlexPath([(42.4,22.3),(41.7,22.3),(41.7,21)], 0.6, ends="flush", simple_path=True, layer=37, datatype=0))  # L37_0
teamg_ringoscillator.add(gdstk.FlexPath([(27.7,22.9),(27.7,21)], 0.6, ends="flush", simple_path=True, layer=37, datatype=0))  # L37_0
teamg_ringoscillator.add(gdstk.FlexPath([(3.9,21),(3.9,22.3),(2.5,22.3),(2.5,21)], 0.6, ends="flush", simple_path=True, layer=37, datatype=0))  # L37_0
teamg_ringoscillator.add(gdstk.FlexPath([(1.1,22.05),(1.1,21)], 0.6, ends="flush", simple_path=True, layer=37, datatype=0))  # L37_0
teamg_ringoscillator.add(gdstk.FlexPath([(5.3,21),(5.3,22.3),(3.9,22.3)], 0.6, ends="flush", simple_path=True, layer=37, datatype=0))  # L37_0
teamg_ringoscillator.add(gdstk.FlexPath([(8.1,21),(8.1,22.3),(6.7,22.3),(6.7,21)], 0.6, ends="flush", simple_path=True, layer=37, datatype=0))  # L37_0
teamg_ringoscillator.add(gdstk.FlexPath([(10.9,21),(10.9,22.3),(9.5,22.3),(9.5,21)], 0.6, ends="flush", simple_path=True, layer=37, datatype=0))  # L37_0
teamg_ringoscillator.add(gdstk.FlexPath([(12.3,21),(12.3,22.3),(10.9,22.3)], 0.6, ends="flush", simple_path=True, layer=37, datatype=0))  # L37_0
teamg_ringoscillator.add(gdstk.FlexPath([(15.1,21),(15.1,22.3),(13.7,22.3),(13.7,21)], 0.6, ends="flush", simple_path=True, layer=37, datatype=0))  # L37_0
teamg_ringoscillator.add(gdstk.FlexPath([(15.1,22.3),(16.5,22.3),(16.5,21)], 0.6, ends="flush", simple_path=True, layer=37, datatype=0))  # L37_0
teamg_ringoscillator.add(gdstk.FlexPath([(19.3,21),(19.3,22.3),(17.9,22.3),(17.9,21)], 0.6, ends="flush", simple_path=True, layer=37, datatype=0))  # L37_0
teamg_ringoscillator.add(gdstk.Reference(via1, (17.9,22.45)))
teamg_ringoscillator.add(gdstk.Reference(via1, (1.1,22.45)))
teamg_ringoscillator.add(gdstk.Reference(dfc1_h, (18.6,8)))
teamg_ringoscillator.add(gdstk.Reference(nor21_h, (14.4,8)))
teamg_ringoscillator.add(gdstk.Reference(nor21_h, (10.2,8)))
teamg_ringoscillator.add(gdstk.Reference(inv1_h, (7.4,8)))
teamg_ringoscillator.add(gdstk.Reference(nand21_h, (3.2,8)))
teamg_ringoscillator.add(gdstk.Reference(nand21_h, (-1,8)))
teamg_ringoscillator.add(gdstk.Label('VCC', (24.8,21), layer=35, texttype=0))
teamg_ringoscillator.add(gdstk.Label('ENABLE', (-1,22.3), layer=35, texttype=0))
teamg_ringoscillator.add(gdstk.Label('OUT', (42.4,22.3), layer=37, texttype=0))
teamg_ringoscillator.add(gdstk.Label('GND', (42.4,8.9), layer=37, texttype=0))
teamg_ringoscillator.add(gdstk.Label('GND', (-1,8.9), layer=37, texttype=0))
teamg_ringoscillator.add(gdstk.Label('VDD', (-1,20.1), layer=37, texttype=0))
teamg_ringoscillator.add(gdstk.Label('VDD', (42.4,20.1), layer=37, texttype=0))
teamg_ringoscillator.add(gdstk.Label('NRESET', (27.7,22.9), layer=35, texttype=0))
teamg_ringoscillator.add(gdstk.Label('OUT', (41.7,8), layer=35, texttype=0))
teamg_ringoscillator.add(gdstk.Label('NRESET', (27.7,8), layer=35, texttype=0))
teamg_ringoscillator.add(gdstk.Label('ENABLE', (-0.3,8), layer=37, texttype=0))

teamg_design = lib.new_cell('TEAMG_DESIGN')
teamg_design.add(gdstk.FlexPath([(-97.95,71.1),(-91.8,71.1)], 0.5, ends="flush", simple_path=True, layer=35, datatype=0))  # L35_0
teamg_design.add(gdstk.FlexPath([(-100.55,59.6),(-100.55,59.85),(-91.8,59.85)], 0.5, ends="flush", simple_path=True, layer=35, datatype=0))  # L35_0
teamg_design.add(gdstk.FlexPath([(-100,93.7),(-86.05,93.7)], 0.5, ends="flush", simple_path=True, layer=35, datatype=0))  # L35_0
teamg_design.add(gdstk.FlexPath([(-86,93.7),(-86.2,93.7)], 0.5, ends="flush", simple_path=True, layer=35, datatype=0))  # L35_0
teamg_design.add(gdstk.FlexPath([(-73.95,119.5),(-73.95,123.2)], 0.5, ends="flush", simple_path=True, layer=35, datatype=0))  # L35_0
teamg_design.add(gdstk.FlexPath([(-73.95,133.85),(-73.95,137.05)], 0.5, ends="flush", simple_path=True, layer=35, datatype=0))  # L35_0
teamg_design.add(gdstk.FlexPath([(-87.55,121),(-75.95,121),(-75.95,123.2)], 0.5, ends="flush", simple_path=True, layer=35, datatype=0))  # L35_0
teamg_design.add(gdstk.FlexPath([(-80.95,121.8),(-80.95,123.2)], 0.5, ends="flush", simple_path=True, layer=35, datatype=0))  # L35_0
teamg_design.add(gdstk.FlexPath([(-81,122.05),(-88.75,122.05)], 0.5, ends="flush", simple_path=True, layer=35, datatype=0))  # L35_0
teamg_design.add(gdstk.FlexPath([(-91.35,123.2),(-86.05,123.2)], 0.5, ends="flush", simple_path=True, layer=35, datatype=0))  # L35_0
teamg_design.add(gdstk.FlexPath([(-96.8,71.1),(-97.95,71.1)], 0.6, ends="flush", simple_path=True, layer=37, datatype=0))  # L37_0
teamg_design.add(gdstk.FlexPath([(-102.8,59.85),(-100.75,59.85)], 0.6, ends="flush", simple_path=True, layer=37, datatype=0))  # L37_0
teamg_design.add(gdstk.FlexPath([(-102.8,93.65),(-100,93.65)], 0.6, ends="flush", simple_path=True, layer=37, datatype=0))  # L37_0
teamg_design.add(gdstk.FlexPath([(-73.95,123.2),(-73.95,133.95)], 0.6, ends="flush", simple_path=True, layer=37, datatype=0))  # L37_0
teamg_design.add(gdstk.FlexPath([(-87.3,119.5),(-87.3,120.8)], 0.6, ends="flush", simple_path=True, layer=37, datatype=0))  # L37_0
teamg_design.add(gdstk.FlexPath([(-84.7,-77.35),(-87.3,-77.35),(-87.3,76.1)], 0.6, ends="flush", simple_path=True, layer=37, datatype=0))  # L37_0
teamg_design.add(gdstk.FlexPath([(-87.9,90.8),(-88.75,90.8),(-88.75,122.05)], 0.6, ends="flush", simple_path=True, layer=37, datatype=0))  # L37_0
teamg_design.add(gdstk.FlexPath([(-89.7,-77.6),(-89.7,58.95)], 0.6, ends="flush", simple_path=True, layer=37, datatype=0))  # L37_0
teamg_design.add(gdstk.FlexPath([(-91.1,71.95),(-91.1,123.15)], 0.6, ends="flush", simple_path=True, layer=37, datatype=0))  # L37_0
teamg_design.add(gdstk.Reference(via1, (-97.95,71.1)))
teamg_design.add(gdstk.Reference(via1, (-100.7,59.85)))
teamg_design.add(gdstk.Reference(via1, (-100.05,93.7)))
teamg_design.add(gdstk.Reference(via1, (-74,123.2)))
teamg_design.add(gdstk.Reference(via1, (-73.95,133.95)))
teamg_design.add(gdstk.Reference(via1, (-87.25,120.8)))
teamg_design.add(gdstk.Reference(via1, (-88.75,122.05)))
teamg_design.add(gdstk.Reference(via1, (-91.1,123.15)))
teamg_design.add(gdstk.Reference(inv1_h, (-91.8,58.95)))
teamg_design.add(gdstk.Reference(teamex_blankdesign, (-3.6,-2.85)))
teamg_design.add(gdstk.Reference(teamg_ringoscillator, (-65,118.5), rotation=3*pi/2, x_reflection=True))

lib.write_gds('TEAMG_DESIGN.gds')
